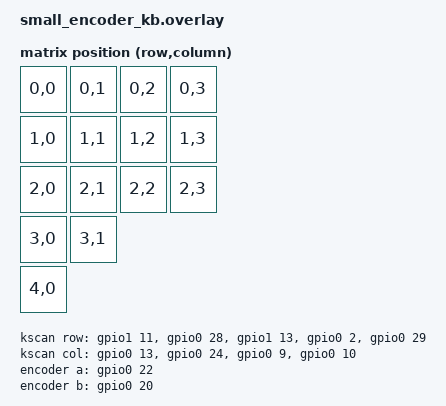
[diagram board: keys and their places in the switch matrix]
#include <dt-bindings/zmk/matrix_transform.h>

/ {
    chosen {
        zmk,matrix-transform = &custom_transform;
    };

    custom_transform: matrix_transform {
        compatible = "zmk,matrix-transform";
        columns = <4>;
        rows = <5>;
        map = <
            RC(0,0) RC(0,1) RC(0,2) RC(0,3)  // 行0: 键1-4
            RC(1,0) RC(1,1) RC(1,2) RC(1,3)  // 行1: 键5-8
            RC(2,0) RC(2,1) RC(2,2) RC(2,3)  // 行2: 键9-12
            RC(3,0) RC(3,1)                  // 行3: 键13-14
            RC(4,0)                          // 行4: 键15（编码器按压）
        >;
    };

    kscan: kscan {
        compatible = "zmk,kscan-gpio-matrix";
        diode-direction = "col2row";

        row-gpios =
            <&gpio1 11 (GPIO_ACTIVE_HIGH | GPIO_PULL_DOWN)>  // 行0
            <&gpio0 28 (GPIO_ACTIVE_HIGH | GPIO_PULL_DOWN)>  // 行1
            <&gpio1 13 (GPIO_ACTIVE_HIGH | GPIO_PULL_DOWN)>  // 行2
            <&gpio0 2  (GPIO_ACTIVE_HIGH | GPIO_PULL_DOWN)>  // 行3
            <&gpio0 29 (GPIO_ACTIVE_HIGH | GPIO_PULL_DOWN)>; // 行4（编码器按压）

        col-gpios =
            <&gpio0 13 GPIO_ACTIVE_HIGH>  // 列0
            <&gpio0 24 GPIO_ACTIVE_HIGH>  // 列1
            <&gpio0 9  GPIO_ACTIVE_HIGH>  // 列2
            <&gpio0 10 GPIO_ACTIVE_HIGH>; // 列3
    };

    encoder: encoder {
        compatible = "alps,ec11";
        label = "ENCODER";
        a-gpios = <&gpio0 22 (GPIO_ACTIVE_HIGH | GPIO_PULL_UP)>;
        b-gpios = <&gpio0 20 (GPIO_ACTIVE_HIGH | GPIO_PULL_UP)>;
        resolution = <4>;
    };

    sensors: sensors {
        compatible = "zmk,keymap-sensors";
        sensors = <&encoder>;
    };

    vbatt: vbatt {
        compatible = "zmk,battery-voltage-divider";
        label = "BATTERY";
        io-channels = <&adc 7>;
        output-ohms = <2000000>;
        full-ohms = <2806000>;  // 2000000 + 806000
    };

    ext_power: ext_power {
        compatible = "zmk,ext-power-generic";
        label = "EXT_POWER";
        control-gpios = <&gpio0 4 GPIO_ACTIVE_LOW>;
    };
};
